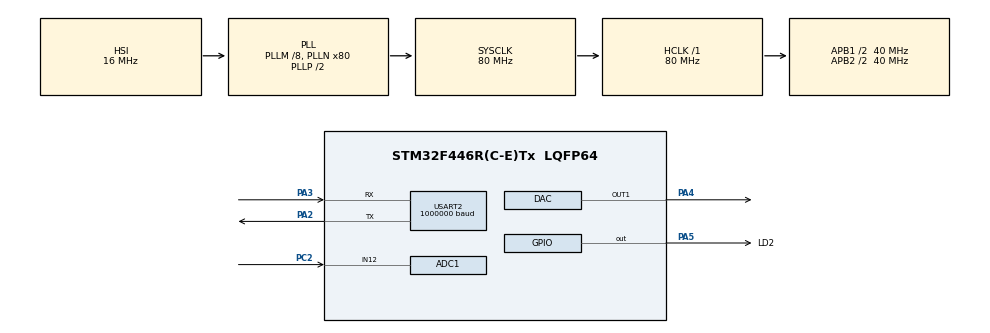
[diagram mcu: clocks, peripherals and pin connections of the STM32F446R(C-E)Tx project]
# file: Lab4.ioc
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ADC1.Channel-2\#ChannelRegularConversion=ADC_CHANNEL_12
ADC1.NbrOfConversionFlag=1
ADC1.Rank-2\#ChannelRegularConversion=1
ADC1.SamplingTime-2\#ChannelRegularConversion=ADC_SAMPLETIME_3CYCLES
ADC1.master=1
Dma.ADC1.0.Direction=DMA_PERIPH_TO_MEMORY
Dma.ADC1.0.FIFOMode=DMA_FIFOMODE_DISABLE
Dma.ADC1.0.Instance=DMA2_Stream0
Dma.ADC1.0.MemDataAlignment=DMA_MDATAALIGN_HALFWORD
Dma.ADC1.0.MemInc=DMA_MINC_ENABLE
Dma.ADC1.0.Mode=DMA_NORMAL
Dma.ADC1.0.PeriphDataAlignment=DMA_PDATAALIGN_HALFWORD
Dma.ADC1.0.PeriphInc=DMA_PINC_DISABLE
Dma.ADC1.0.Priority=DMA_PRIORITY_LOW
Dma.Request0=ADC1
Mcu.Family=STM32F4
Mcu.Name=STM32F446R(C-E)Tx
Mcu.Package=LQFP64
NVIC.DMA2_Stream0_IRQn=true\:0\:0\:false\:false\:true\:false\:true\:true
NVIC.PriorityGroup=NVIC_PRIORITYGROUP_4
NVIC.TIM1_UP_TIM10_IRQn=true\:0\:0\:false\:false\:true\:true\:true\:true
NVIC.USART2_IRQn=true\:0\:0\:false\:false\:true\:true\:true\:true
PA2.Mode=Asynchronous
PA2.Signal=USART2_TX
PA3.Mode=Asynchronous
PA3.Signal=USART2_RX
PA4.Signal=COMP_DAC1_group
PA5.GPIO_Label=LD2
PA5.Signal=GPIO_Output
PC2.Signal=ADCx_IN12
ProjectManager.HeapSize=0x200
ProjectManager.StackSize=0x400
ProjectManager.TargetToolchain=STM32CubeIDE
RCC.AHBFreq_Value=80000000
RCC.APB1CLKDivider=RCC_HCLK_DIV2
RCC.APB1Freq_Value=40000000
RCC.APB1TimFreq_Value=80000000
RCC.APB2CLKDivider=RCC_HCLK_DIV2
RCC.APB2Freq_Value=40000000
RCC.APB2TimFreq_Value=80000000
RCC.CortexFreq_Value=80000000
RCC.HCLKFreq_Value=80000000
RCC.PLLM=8
RCC.PLLN=80
RCC.SYSCLKFreq_VALUE=80000000
RCC.SYSCLKSource=RCC_SYSCLKSOURCE_PLLCLK
RCC.USBFreq_Value=80000000
RCC.VCOOutputFreq_Value=160000000
SH.ADCx_IN12.0=ADC1_IN12,IN12
SH.COMP_DAC1_group.0=DAC_OUT1,DAC_OUT1
TIM10.Period=999
TIM10.Prescaler=79
USART2.BaudRate=1000000
USART2.VirtualMode=VM_ASYNC
VP_TIM10_VS_ClockSourceINT.Mode=Enable_Timer
board=custom

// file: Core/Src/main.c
/* USER CODE BEGIN Header */
/**
  ******************************************************************************
  * @file           : main.c
  * @brief          : Main program body
  ******************************************************************************
  * @attention
  *
  * Copyright (c) 2024 STMicroelectronics.
  * All rights reserved.
  *
  * This software is licensed under terms that can be found in the LICENSE file
  * in the root directory of this software component.
  * If no LICENSE file comes with this software, it is provided AS-IS.
  *
  ******************************************************************************
  */
/* USER CODE END Header */
#include "main.h"

/* USER CODE BEGIN Includes */
#include "math.h"
/* USER CODE END Includes */

ADC_HandleTypeDef hadc1;
DMA_HandleTypeDef hdma_adc1;

DAC_HandleTypeDef hdac;

TIM_HandleTypeDef htim10;

UART_HandleTypeDef huart2;

void SystemClock_Config(void);
static void MX_GPIO_Init(void);
static void MX_DMA_Init(void);
static void MX_ADC1_Init(void);
static void MX_USART2_UART_Init(void);
static void MX_TIM10_Init(void);
static void MX_DAC_Init(void);

/* USER CODE BEGIN 0 */
uint32_t adc_value = 0;
uint32_t timer = 0;
uint32_t freq = 1; // 0 - 255 Hz
uint32_t amp = 2000; // 0 - 3300 mv

#define message_header 0xABCD
#define message_terminator 0xBEDA
#define command_header 0xAB
#define command_terminator 0xCD

struct message {
  uint32_t header;
  uint32_t adc_value;
  uint32_t terminator;
};

struct {
  uint8_t header;
  uint8_t command;
  uint8_t arg;
  uint8_t terminator;
} command;
/* USER CODE END 0 */

int main(void)
{

  /* MCU Configuration--------------------------------------------------------*/

  /* Reset of all peripherals, Initializes the Flash interface and the Systick. */
  HAL_Init();

  /* Configure the system clock */
  SystemClock_Config();

  /* Initialize all configured peripherals */
  MX_GPIO_Init();
  MX_DMA_Init();
  MX_ADC1_Init();
  MX_USART2_UART_Init();
  MX_TIM10_Init();
  MX_DAC_Init();
  /* USER CODE BEGIN 2 */
  // timer 6 start
  HAL_TIM_Base_Start_IT(&htim10); // millis
  HAL_DAC_Start(&hdac, DAC_CHANNEL_1);

  // start uart
  HAL_UART_Receive_IT(&huart2, (uint8_t*)&command, sizeof(command)); // start uart receive
  /* USER CODE END 2 */

  /* Infinite loop */
  while (1)
  {

  }
}

void SystemClock_Config(void)
{
  RCC_OscInitTypeDef RCC_OscInitStruct = {0};
  RCC_ClkInitTypeDef RCC_ClkInitStruct = {0};

  /** Configure the main internal regulator output voltage
  */
  __HAL_RCC_PWR_CLK_ENABLE();
  __HAL_PWR_VOLTAGESCALING_CONFIG(PWR_REGULATOR_VOLTAGE_SCALE3);

  /** Initializes the RCC Oscillators according to the specified parameters
  * in the RCC_OscInitTypeDef structure.
  */
  RCC_OscInitStruct.OscillatorType = RCC_OSCILLATORTYPE_HSI;
  RCC_OscInitStruct.HSIState = RCC_HSI_ON;
  RCC_OscInitStruct.HSICalibrationValue = RCC_HSICALIBRATION_DEFAULT;
  RCC_OscInitStruct.PLL.PLLState = RCC_PLL_ON;
  RCC_OscInitStruct.PLL.PLLSource = RCC_PLLSOURCE_HSI;
  RCC_OscInitStruct.PLL.PLLM = 8;
  RCC_OscInitStruct.PLL.PLLN = 80;
  RCC_OscInitStruct.PLL.PLLP = RCC_PLLP_DIV2;
  RCC_OscInitStruct.PLL.PLLQ = 2;
  RCC_OscInitStruct.PLL.PLLR = 2;
  if (HAL_RCC_OscConfig(&RCC_OscInitStruct) != HAL_OK)
  {
    Error_Handler();
  }

  /** Initializes the CPU, AHB and APB buses clocks
  */
  RCC_ClkInitStruct.ClockType = RCC_CLOCKTYPE_HCLK|RCC_CLOCKTYPE_SYSCLK
                              |RCC_CLOCKTYPE_PCLK1|RCC_CLOCKTYPE_PCLK2;
  RCC_ClkInitStruct.SYSCLKSource = RCC_SYSCLKSOURCE_PLLCLK;
  RCC_ClkInitStruct.AHBCLKDivider = RCC_SYSCLK_DIV1;
  RCC_ClkInitStruct.APB1CLKDivider = RCC_HCLK_DIV2;
  RCC_ClkInitStruct.APB2CLKDivider = RCC_HCLK_DIV2;

  if (HAL_RCC_ClockConfig(&RCC_ClkInitStruct, FLASH_LATENCY_2) != HAL_OK)
  {
    Error_Handler();
  }
}

static void MX_ADC1_Init(void)
{

  ADC_ChannelConfTypeDef sConfig = {0};

  /** Configure the global features of the ADC (Clock, Resolution, Data Alignment and number of conversion)
  */
  hadc1.Instance = ADC1;
  hadc1.Init.ClockPrescaler = ADC_CLOCK_SYNC_PCLK_DIV2;
  hadc1.Init.Resolution = ADC_RESOLUTION_12B;
  hadc1.Init.ScanConvMode = DISABLE;
  hadc1.Init.ContinuousConvMode = DISABLE;
  hadc1.Init.DiscontinuousConvMode = DISABLE;
  hadc1.Init.ExternalTrigConvEdge = ADC_EXTERNALTRIGCONVEDGE_NONE;
  hadc1.Init.ExternalTrigConv = ADC_SOFTWARE_START;
  hadc1.Init.DataAlign = ADC_DATAALIGN_RIGHT;
  hadc1.Init.NbrOfConversion = 1;
  hadc1.Init.DMAContinuousRequests = DISABLE;
  hadc1.Init.EOCSelection = ADC_EOC_SINGLE_CONV;
  if (HAL_ADC_Init(&hadc1) != HAL_OK)
  {
    Error_Handler();
  }

  /** Configure for the selected ADC regular channel its corresponding rank in the sequencer and its sample time.
  */
  sConfig.Channel = ADC_CHANNEL_12;
  sConfig.Rank = 1;
  sConfig.SamplingTime = ADC_SAMPLETIME_3CYCLES;
  if (HAL_ADC_ConfigChannel(&hadc1, &sConfig) != HAL_OK)
  {
    Error_Handler();
  }

}

static void MX_DAC_Init(void)
{

  DAC_ChannelConfTypeDef sConfig = {0};

  /** DAC Initialization
  */
  hdac.Instance = DAC;
  if (HAL_DAC_Init(&hdac) != HAL_OK)
  {
    Error_Handler();
  }

  /** DAC channel OUT1 config
  */
  sConfig.DAC_Trigger = DAC_TRIGGER_NONE;
  sConfig.DAC_OutputBuffer = DAC_OUTPUTBUFFER_ENABLE;
  if (HAL_DAC_ConfigChannel(&hdac, &sConfig, DAC_CHANNEL_1) != HAL_OK)
  {
    Error_Handler();
  }

}

static void MX_TIM10_Init(void)
{

  htim10.Instance = TIM10;
  htim10.Init.Prescaler = 79;
  htim10.Init.CounterMode = TIM_COUNTERMODE_UP;
  htim10.Init.Period = 999;
  htim10.Init.ClockDivision = TIM_CLOCKDIVISION_DIV1;
  htim10.Init.AutoReloadPreload = TIM_AUTORELOAD_PRELOAD_DISABLE;
  if (HAL_TIM_Base_Init(&htim10) != HAL_OK)
  {
    Error_Handler();
  }

}

static void MX_USART2_UART_Init(void)
{

  huart2.Instance = USART2;
  huart2.Init.BaudRate = 1000000;
  huart2.Init.WordLength = UART_WORDLENGTH_8B;
  huart2.Init.StopBits = UART_STOPBITS_1;
  huart2.Init.Parity = UART_PARITY_NONE;
  huart2.Init.Mode = UART_MODE_TX_RX;
  huart2.Init.HwFlowCtl = UART_HWCONTROL_NONE;
  huart2.Init.OverSampling = UART_OVERSAMPLING_16;
  if (HAL_UART_Init(&huart2) != HAL_OK)
  {
    Error_Handler();
  }

}

static void MX_DMA_Init(void)
{

  /* DMA controller clock enable */
  __HAL_RCC_DMA2_CLK_ENABLE();

  /* DMA interrupt init */
  /* DMA2_Stream0_IRQn interrupt configuration */
  HAL_NVIC_SetPriority(DMA2_Stream0_IRQn, 0, 0);
  HAL_NVIC_EnableIRQ(DMA2_Stream0_IRQn);

}

static void MX_GPIO_Init(void)
{
  GPIO_InitTypeDef GPIO_InitStruct = {0};

  /* GPIO Ports Clock Enable */
  __HAL_RCC_GPIOC_CLK_ENABLE();
  __HAL_RCC_GPIOA_CLK_ENABLE();

  /*Configure GPIO pin Output Level */
  HAL_GPIO_WritePin(LD2_GPIO_Port, LD2_Pin, GPIO_PIN_RESET);

  /*Configure GPIO pin : LD2_Pin */
  GPIO_InitStruct.Pin = LD2_Pin;
  GPIO_InitStruct.Mode = GPIO_MODE_OUTPUT_PP;
  GPIO_InitStruct.Pull = GPIO_NOPULL;
  GPIO_InitStruct.Speed = GPIO_SPEED_FREQ_LOW;
  HAL_GPIO_Init(LD2_GPIO_Port, &GPIO_InitStruct);

}

/* USER CODE BEGIN 4 */

 void write_sin(){
     float scale = (float) amp / 3300;
     HAL_DAC_SetValue(&hdac, DAC_CHANNEL_1, DAC_ALIGN_12B_R, (uint32_t)(2048 * scale + 2047 * scale * sin(timer * 2 * 3.14159 * freq / 1000)));
 }

// timer 6 callback
void HAL_TIM_PeriodElapsedCallback(TIM_HandleTypeDef *htim)
{
  if(htim->Instance == TIM10)
  {
    struct message msg;
    msg.header = message_header;
    msg.adc_value = adc_value;
    msg.terminator = message_terminator;
    HAL_UART_Transmit(&huart2, (uint8_t*)&msg, sizeof(msg), 1000); // send message
    HAL_ADC_Start_DMA(&hadc1, &adc_value, 1); // start ADC conversion
    timer++;
    write_sin();
  }
}

// void process_command(){
//   char buffer[100];
//   switch(command.command){
//     case 0x01:
//       freq = command.arg;
//       sprintf(buffer, "Freq: %ld\n", freq);
//       break;
//     case 0x02:
//       amp = (float) command.arg / 255.0 * 3300.0;
//       sprintf(buffer, "Amp: %ld\n", amp);
//       break;
//     default:
//       sprintf(buffer, "Invalid command\n");
//       break;
//   }
//   HAL_UART_Transmit(&huart2, (uint8_t*)buffer, strlen(buffer), 1000); // send message
// }

// uart callback
// void HAL_UART_RxCpltCallback(UART_HandleTypeDef *huart)
// {
//   if(huart->Instance == USART2)
//   {
//     process_command();

//     HAL_GPIO_TogglePin(LD2_GPIO_Port, LD2_Pin); // toggle LED

//     HAL_UART_Receive_IT(&huart2, (uint8_t*)&command, sizeof(command)); // start uart receive
//   }
// }

/* USER CODE END 4 */

void Error_Handler(void)
{
  __disable_irq();
  while (1)
  {
  }
}
